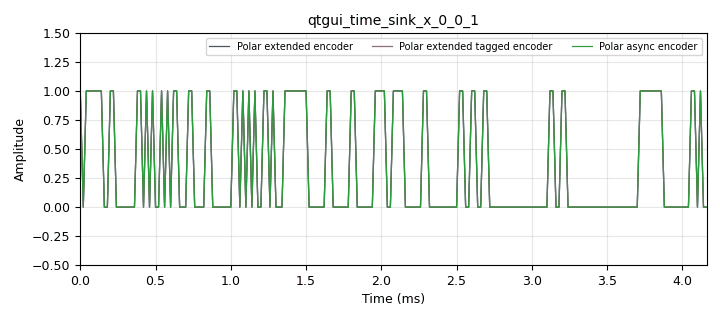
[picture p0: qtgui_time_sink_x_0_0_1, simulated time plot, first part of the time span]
<?xml version='1.0' encoding='utf-8'?>
<?grc format='1' created='3.7.9'?>
<flow_graph>
<block>
<key>options</key>
<param><key>id</key><value>fecapi_polar_encoders</value></param>
<param><key>category</key><value>Custom</value></param>
<param><key>generate_options</key><value>qt_gui</value></param>
<param><key>title</key><value>Polar encoder examples</value></param>
</block>
<block>
<key>variable</key>
<param><key>id</key><value>n_info_bits</value></param>
<param><key>value</key><value>frame_size * 8</value></param>
</block>
<block>
<key>variable_polar_code_configurator</key>
<param><key>id</key><value>polar_config</value></param>
<param><key>num_info_bits</key><value>n_info_bits</value></param>
<param><key>block_size</key><value>block_size</value></param>
<param><key>channel</key><value>polar.CHANNEL_TYPE_BEC</value></param>
<param><key>comment</key><value>Block is used to configure polar encoders and decoders.

returns dictionary with requested configuration.

most important dict values: 'values' and 'positions'</value></param>
<param><key>design_snr</key><value>0.0</value></param>
<param><key>mu</key><value>32</value></param>
</block>
<block>
<key>variable_polar_encoder_def</key>
<param><key>id</key><value>polar_encoder_async</value></param>
<param><key>num_info_bits</key><value>n_info_bits</value></param>
<param><key>block_size</key><value>block_size</value></param>
<param><key>frozen_bit_positions</key><value>polar_config['positions']</value></param>
<param><key>frozen_bit_values</key><value>polar_config['values']</value></param>
<param><key>is_packed</key><value>False</value></param>
<param><key>ndim</key><value>0</value></param>
</block>
<block>
<key>variable_polar_encoder_def</key>
<param><key>id</key><value>polar_encoder_stream</value></param>
<param><key>num_info_bits</key><value>frame_size * 8</value></param>
<param><key>block_size</key><value>block_size</value></param>
<param><key>frozen_bit_positions</key><value>polar_config['positions']</value></param>
<param><key>frozen_bit_values</key><value>polar_config['values']</value></param>
<param><key>is_packed</key><value>False</value></param>
<param><key>ndim</key><value>0</value></param>
</block>
<block>
<key>variable_polar_encoder_def</key>
<param><key>id</key><value>polar_encoder_tagged</value></param>
<param><key>num_info_bits</key><value>n_info_bits</value></param>
<param><key>block_size</key><value>block_size</value></param>
<param><key>frozen_bit_positions</key><value>polar_config['positions']</value></param>
<param><key>frozen_bit_values</key><value>polar_config['values']</value></param>
<param><key>is_packed</key><value>False</value></param>
<param><key>ndim</key><value>0</value></param>
</block>
<block>
<key>variable</key>
<param><key>id</key><value>samp_rate</value></param>
<param><key>value</key><value>int(50e3)</value></param>
</block>
<block>
<key>analog_random_source_x</key>
<param><key>id</key><value>analog_random_source_x_0</value></param>
<param><key>_enabled</key><value>False</value></param>
<param><key>max</key><value>256</value></param>
<param><key>min</key><value>0</value></param>
<param><key>num_samps</key><value>1000</value></param>
<param><key>type</key><value>byte</value></param>
<param><key>repeat</key><value>True</value></param>
</block>
<block>
<key>parameter</key>
<param><key>id</key><value>block_size</value></param>
<param><key>comment</key><value>codeword size of polar codes.

MUST be a power of 2!
MUST be greater than 'frame_size'.</value></param>
<param><key>label</key><value>Block size</value></param>
<param><key>type</key><value>intx</value></param>
<param><key>value</key><value>512</value></param>
</block>
<block>
<key>blocks_char_to_float</key>
<param><key>id</key><value>blocks_char_to_float_0_1</value></param>
<param><key>scale</key><value>1</value></param>
</block>
<block>
<key>blocks_char_to_float</key>
<param><key>id</key><value>blocks_char_to_float_1_0_0</value></param>
<param><key>scale</key><value>1</value></param>
</block>
<block>
<key>blocks_char_to_float</key>
<param><key>id</key><value>blocks_char_to_float_1_0_0_1</value></param>
<param><key>scale</key><value>1</value></param>
</block>
<block>
<key>blocks_ctrlport_monitor_performance</key>
<param><key>id</key><value>blocks_ctrlport_monitor_performance_0</value></param>
<param><key>_enabled</key><value>False</value></param>
<param><key>en</key><value>True</value></param>
</block>
<block>
<key>blocks_pdu_to_tagged_stream</key>
<param><key>id</key><value>blocks_pdu_to_tagged_stream_0</value></param>
<param><key>type</key><value>byte</value></param>
<param><key>tag</key><value>pkt_len</value></param>
</block>
<block>
<key>blocks_repack_bits_bb</key>
<param><key>id</key><value>blocks_repack_bits_bb_0</value></param>
<param><key>k</key><value>8</value></param>
<param><key>l</key><value>1</value></param>
<param><key>endianness</key><value>gr.GR_MSB_FIRST</value></param>
<param><key>len_tag_key</key><value>pkt_len</value></param>
</block>
<block>
<key>blocks_repack_bits_bb</key>
<param><key>id</key><value>blocks_repack_bits_bb_0_0</value></param>
<param><key>k</key><value>8</value></param>
<param><key>l</key><value>1</value></param>
<param><key>endianness</key><value>gr.GR_MSB_FIRST</value></param>
<param><key>len_tag_key</key><value>length_tag</value></param>
</block>
<block>
<key>blocks_stream_to_tagged_stream</key>
<param><key>id</key><value>blocks_stream_to_tagged_stream_0</value></param>
<param><key>len_tag_key</key><value>length_tag</value></param>
<param><key>packet_len</key><value>frame_size</value></param>
<param><key>type</key><value>byte</value></param>
</block>
<block>
<key>blocks_stream_to_tagged_stream</key>
<param><key>id</key><value>blocks_stream_to_tagged_stream_0_0</value></param>
<param><key>len_tag_key</key><value>pkt_len</value></param>
<param><key>packet_len</key><value>frame_size</value></param>
<param><key>type</key><value>byte</value></param>
</block>
<block>
<key>blocks_tagged_stream_to_pdu</key>
<param><key>id</key><value>blocks_tagged_stream_to_pdu_0</value></param>
<param><key>type</key><value>byte</value></param>
<param><key>tag</key><value>pkt_len</value></param>
</block>
<block>
<key>blocks_throttle</key>
<param><key>id</key><value>blocks_throttle_0</value></param>
<param><key>samples_per_second</key><value>samp_rate</value></param>
<param><key>type</key><value>byte</value></param>
</block>
<block>
<key>blocks_unpack_k_bits_bb</key>
<param><key>id</key><value>blocks_unpack_k_bits_bb_0</value></param>
<param><key>k</key><value>8</value></param>
</block>
<block>
<key>blocks_vector_source_x</key>
<param><key>id</key><value>blocks_vector_source_x_0_1_0</value></param>
<param><key>type</key><value>byte</value></param>
<param><key>repeat</key><value>True</value></param>
<param><key>vector</key><value>(frame_size/15)*[0, 0, 1, 0, 3, 0, 7, 0, 15, 0, 31, 0, 63, 0, 127]</value></param>
</block>
<block>
<key>fec_async_encoder</key>
<param><key>id</key><value>fec_async_encoder_0</value></param>
<param><key>encoder</key><value>polar_encoder_async</value></param>
<param><key>packed</key><value>True</value></param>
<param><key>rev_pack</key><value>False</value></param>
<param><key>rev_unpack</key><value>False</value></param>
</block>
<block>
<key>fec_extended_encoder</key>
<param><key>id</key><value>fec_extended_encoder_0_0_0</value></param>
<param><key>encoder_list</key><value>polar_encoder_stream</value></param>
<param><key>puncpat</key><value>puncpat</value></param>
<param><key>threadtype</key><value>none</value></param>
</block>
<block>
<key>fec_extended_tagged_encoder</key>
<param><key>id</key><value>fec_extended_tagged_encoder_0_0</value></param>
<param><key>encoder_list</key><value>polar_encoder_tagged</value></param>
<param><key>lentagname</key><value>length_tag</value></param>
<param><key>puncpat</key><value>puncpat</value></param>
</block>
<block>
<key>parameter</key>
<param><key>id</key><value>frame_size</value></param>
<param><key>label</key><value>Frame Size</value></param>
<param><key>type</key><value>intx</value></param>
<param><key>value</key><value>30</value></param>
</block>
<block>
<key>parameter</key>
<param><key>id</key><value>puncpat</value></param>
<param><key>type</key><value>string</value></param>
<param><key>value</key><value>'11'</value></param>
</block>
<block>
<key>qtgui_time_sink_x</key>
<param><key>id</key><value>qtgui_time_sink_x_0_0_1</value></param>
<param><key>color1</key><value>"blue"</value></param>
<param><key>label1</key><value>Polar extended encoder</value></param>
<param><key>alpha2</key><value>0.6</value></param>
<param><key>color2</key><value>"red"</value></param>
<param><key>label2</key><value>Polar extended tagged encoder</value></param>
<param><key>color3</key><value>"green"</value></param>
<param><key>label3</key><value>Polar async encoder</value></param>
<param><key>name</key><value></value></param>
<param><key>nconnections</key><value>3</value></param>
<param><key>size</key><value>2050</value></param>
<param><key>srate</key><value>samp_rate</value></param>
<param><key>tr_tag</key><value>packet_len</value></param>
<param><key>type</key><value>float</value></param>
<param><key>update_time</key><value>0.05</value></param>
<param><key>ymax</key><value>1.5</value></param>
<param><key>ymin</key><value>-0.5</value></param>
</block>
<connection><source_block_id>analog_random_source_x_0</source_block_id><sink_block_id>blocks_throttle_0</sink_block_id><source_key>0</source_key><sink_key>0</sink_key></connection>
<connection><source_block_id>blocks_char_to_float_0_1</source_block_id><sink_block_id>qtgui_time_sink_x_0_0_1</sink_block_id><source_key>0</source_key><sink_key>2</sink_key></connection>
<connection><source_block_id>blocks_char_to_float_1_0_0</source_block_id><sink_block_id>qtgui_time_sink_x_0_0_1</sink_block_id><source_key>0</source_key><sink_key>0</sink_key></connection>
<connection><source_block_id>blocks_char_to_float_1_0_0_1</source_block_id><sink_block_id>qtgui_time_sink_x_0_0_1</sink_block_id><source_key>0</source_key><sink_key>1</sink_key></connection>
<connection><source_block_id>blocks_pdu_to_tagged_stream_0</source_block_id><sink_block_id>blocks_repack_bits_bb_0</sink_block_id><source_key>0</source_key><sink_key>0</sink_key></connection>
<connection><source_block_id>blocks_repack_bits_bb_0</source_block_id><sink_block_id>blocks_char_to_float_0_1</sink_block_id><source_key>0</source_key><sink_key>0</sink_key></connection>
<connection><source_block_id>blocks_repack_bits_bb_0_0</source_block_id><sink_block_id>fec_extended_tagged_encoder_0_0</sink_block_id><source_key>0</source_key><sink_key>0</sink_key></connection>
<connection><source_block_id>blocks_stream_to_tagged_stream_0</source_block_id><sink_block_id>blocks_repack_bits_bb_0_0</sink_block_id><source_key>0</source_key><sink_key>0</sink_key></connection>
<connection><source_block_id>blocks_stream_to_tagged_stream_0_0</source_block_id><sink_block_id>blocks_tagged_stream_to_pdu_0</sink_block_id><source_key>0</source_key><sink_key>0</sink_key></connection>
<connection><source_block_id>blocks_tagged_stream_to_pdu_0</source_block_id><sink_block_id>fec_async_encoder_0</sink_block_id><source_key>pdus</source_key><sink_key>in</sink_key></connection>
<connection><source_block_id>blocks_throttle_0</source_block_id><sink_block_id>blocks_stream_to_tagged_stream_0</sink_block_id><source_key>0</source_key><sink_key>0</sink_key></connection>
<connection><source_block_id>blocks_throttle_0</source_block_id><sink_block_id>blocks_stream_to_tagged_stream_0_0</sink_block_id><source_key>0</source_key><sink_key>0</sink_key></connection>
<connection><source_block_id>blocks_throttle_0</source_block_id><sink_block_id>blocks_unpack_k_bits_bb_0</sink_block_id><source_key>0</source_key><sink_key>0</sink_key></connection>
<connection><source_block_id>blocks_unpack_k_bits_bb_0</source_block_id><sink_block_id>fec_extended_encoder_0_0_0</sink_block_id><source_key>0</source_key><sink_key>0</sink_key></connection>
<connection><source_block_id>blocks_vector_source_x_0_1_0</source_block_id><sink_block_id>blocks_throttle_0</sink_block_id><source_key>0</source_key><sink_key>0</sink_key></connection>
<connection><source_block_id>fec_async_encoder_0</source_block_id><sink_block_id>blocks_pdu_to_tagged_stream_0</sink_block_id><source_key>out</source_key><sink_key>pdus</sink_key></connection>
<connection><source_block_id>fec_extended_encoder_0_0_0</source_block_id><sink_block_id>blocks_char_to_float_1_0_0</sink_block_id><source_key>0</source_key><sink_key>0</sink_key></connection>
<connection><source_block_id>fec_extended_tagged_encoder_0_0</source_block_id><sink_block_id>blocks_char_to_float_1_0_0_1</sink_block_id><source_key>0</source_key><sink_key>0</sink_key></connection>
</flow_graph>
